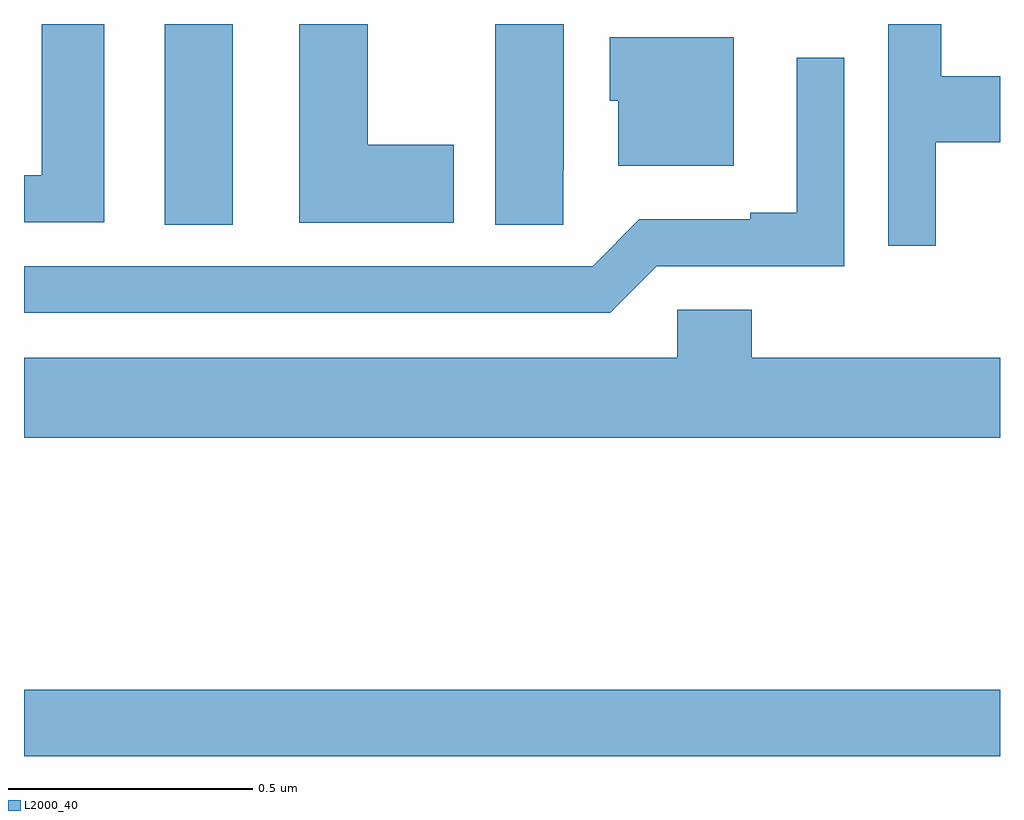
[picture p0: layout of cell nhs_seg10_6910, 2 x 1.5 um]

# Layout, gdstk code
import gdstk
lib = gdstk.Library(unit=1e-6, precision=1e-09)
def R(c, l, rs):  # rectangles x0, y0, x1, y1
    for r in rs: c.add(gdstk.rectangle(r[:2], r[2:], *l))
def P(c, l, *ps):  # polygons
    for p in ps: c.add(gdstk.Polygon(p, *l))
L2000_40 = (2000, 40)

nhs_seg10_6910 = lib.new_cell('nhs_seg10_6910')
R(nhs_seg10_6910, L2000_40, [(197,1297,199,1297.136), (197.288,1298.089,197.428,1298.5)])
P(nhs_seg10_6910, L2000_40, [(197.881,1298.253),(197.704,1298.253),(197.704,1298.5),(197.564,1298.5),(197.564,1298.093),(197.881,1298.093)],
  [(197.164,1298.5),(197.036,1298.5),(197.036,1298.19),(197,1298.19),(197,1298.094),(197.164,1298.094)],
  [(198.105,1298.2),(198.106,1298.2),(198.106,1298.5),(197.966,1298.5),(197.966,1298.089),(198.105,1298.089)],
  [(198.868,1298.258),(199,1298.258),(199,1298.393),(198.88,1298.393),(198.88,1298.5),(198.771,1298.5),(198.771,1298.046),(198.868,1298.046)],
  [(198.454,1298.473),(198.2,1298.473),(198.2,1298.343),(198.218,1298.343),(198.218,1298.21),(198.454,1298.21)],
  [(198.297,1298.004),(198.681,1298.004),(198.681,1298.431),(198.584,1298.431),(198.584,1298.113),(198.488,1298.113),(198.488,1298.1),(198.261,1298.1),(198.165,1298.004),(197,1298.004),(197,1297.908),(198.201,1297.908)],
  [(199,1297.816),(198.491,1297.816),(198.491,1297.914),(198.339,1297.914),(198.339,1297.816),(197,1297.816),(197,1297.652),(199,1297.652)])

lib.write_gds('nhs_seg10_6910.gds')
